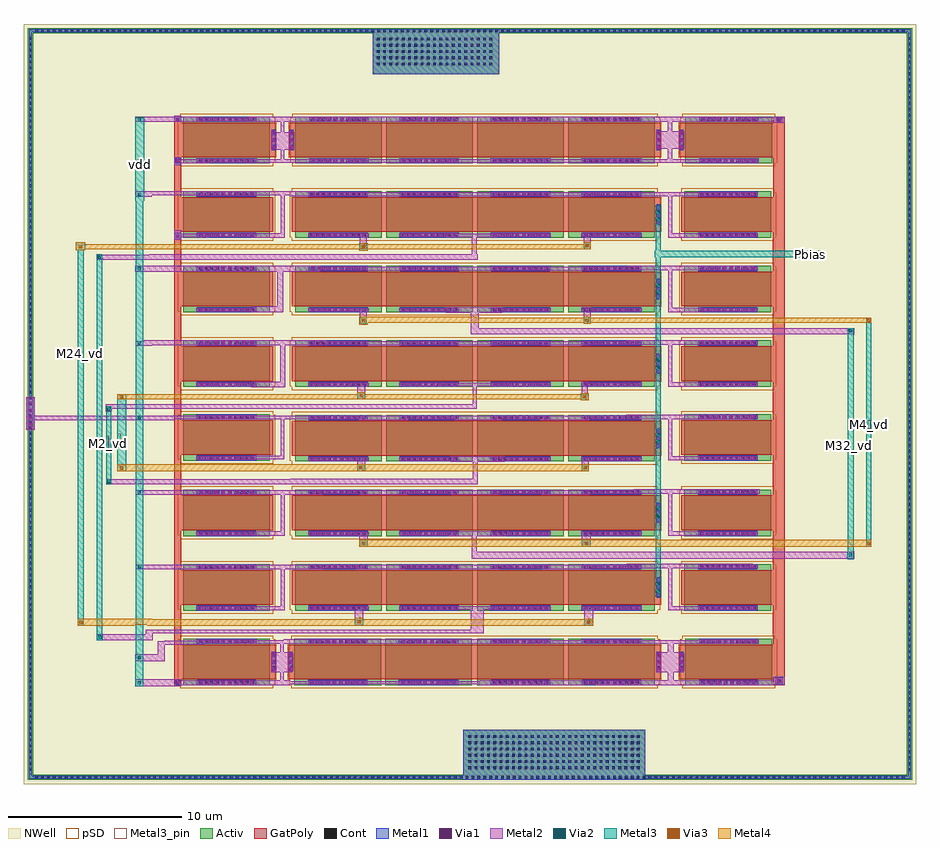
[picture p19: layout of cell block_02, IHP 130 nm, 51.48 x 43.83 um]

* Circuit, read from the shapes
.subckt block_02 M17_vd M24_vd M28_vd M2_vd M32_vd M4_vd Pbias vdd
XM1 vdd vdd vdd vdd sg13_lv_pmos w=5u l=2u m=24
XM2 vdd Pbias M24_vd vdd sg13_lv_pmos w=5u l=2u m=4
XM3 vdd Pbias M4_vd vdd sg13_lv_pmos w=5u l=2u m=4
XM4 vdd Pbias M17_vd vdd sg13_lv_pmos w=5u l=2u m=4
XM5 vdd Pbias M28_vd vdd sg13_lv_pmos w=5u l=2u m=4
XM6 vdd Pbias M32_vd vdd sg13_lv_pmos w=5u l=2u m=4
XM7 vdd Pbias M2_vd vdd sg13_lv_pmos w=5u l=2u m=4
.ends

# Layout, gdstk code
from math import pi, radians
import gdstk
lib = gdstk.Library(unit=1e-6, precision=1e-09)
def R(c, l, rs):  # rectangles x0, y0, x1, y1
    for r in rs: c.add(gdstk.rectangle(r[:2], r[2:], *l))
def A(c, l, x, y, w, h, nx, ny, dx, dy):  # array of equal rectangles
    R(c, l, [(x+i*dx, y+j*dy, x+i*dx+w, y+j*dy+h) for i in range(nx) for j in range(ny)])
Activ = (1, 0)
GatPoly = (5, 0)
Cont = (6, 0)
Metal1 = (8, 0)
Metal2 = (10, 0)
pSD = (14, 0)
Via1 = (19, 0)
Via2 = (29, 0)
Metal3 = (30, 0)
Metal3_pin = (30, 2)
NWell = (31, 0)
Via3 = (49, 0)
Metal4 = (50, 0)

sg13_lv_pmos_j2vszd = lib.new_cell('sg13_lv_pmos_J2VSZD')
R(sg13_lv_pmos_j2vszd, Activ, [(-1.34,-2.5,1.34,2.5)])
R(sg13_lv_pmos_j2vszd, GatPoly, [(-1,-2.68,1,2.68)])
A(sg13_lv_pmos_j2vszd, Cont, -1.27, -1.61, 0.16, 0.16, 1, 10, 0, 0.34)
A(sg13_lv_pmos_j2vszd, Cont, 1.11, -1.61, 0.16, 0.16, 1, 10, 0, 0.34)
R(sg13_lv_pmos_j2vszd, Metal1, [(-1.34,-1.705,-1.04,1.705), (1.04,-1.705,1.34,1.705)])
R(sg13_lv_pmos_j2vszd, Metal2, [(-1.29,-1.745,-1.09,1.745), (1.09,-1.745,1.29,1.745)])
R(sg13_lv_pmos_j2vszd, pSD, [(-1.3,-2.8,1.3,-2.68), (-1.52,-2.68,1.52,2.68), (-1.3,2.68,1.3,2.8)])
A(sg13_lv_pmos_j2vszd, Via1, -1.285, -1.53, 0.19, 0.19, 1, 8, 0, 0.41)
A(sg13_lv_pmos_j2vszd, Via1, 1.095, -1.53, 0.19, 0.19, 1, 8, 0, 0.41)
R(sg13_lv_pmos_j2vszd, NWell, [(-1.65,-2.81,1.65,2.81)])
sg13_lv_pmos_j2vszd.add(gdstk.Label('D', (-1.19,0), layer=8, texttype=25))
sg13_lv_pmos_j2vszd.add(gdstk.Label('S', (1.19,0), layer=8, texttype=25))

sg13_lv_pmos_j2vj4e = lib.new_cell('sg13_lv_pmos_J2VJ4E')
R(sg13_lv_pmos_j2vj4e, Activ, [(-1.34,-2.595,1.34,2.405)])
R(sg13_lv_pmos_j2vj4e, GatPoly, [(-1,-2.775,1,2.775)])
A(sg13_lv_pmos_j2vj4e, Cont, -1.27, -1.705, 0.16, 0.16, 1, 10, 0, 0.34)
A(sg13_lv_pmos_j2vj4e, Cont, 1.11, -1.705, 0.16, 0.16, 1, 10, 0, 0.34)
A(sg13_lv_pmos_j2vj4e, Cont, -0.42, 2.545, 0.16, 0.16, 3, 1, 0.34, 0)
R(sg13_lv_pmos_j2vj4e, Metal1, [(-1.34,-1.8,-1.04,1.61), (1.04,-1.8,1.34,1.61), (-0.585,2.52,0.585,2.73)])
R(sg13_lv_pmos_j2vj4e, Metal2, [(-1.29,-1.84,-1.09,1.65), (1.09,-1.84,1.29,1.65), (-0.535,2.48,0.535,2.77)])
R(sg13_lv_pmos_j2vj4e, pSD, [(-1.3,-2.895,1.3,-2.775), (-1.52,-2.775,1.52,2.585), (-1.3,2.585,1.3,2.705)])
A(sg13_lv_pmos_j2vj4e, Via1, -1.285, -1.625, 0.19, 0.19, 1, 8, 0, 0.41)
A(sg13_lv_pmos_j2vj4e, Via1, 1.095, -1.625, 0.19, 0.19, 1, 8, 0, 0.41)
A(sg13_lv_pmos_j2vj4e, Via1, -0.505, 2.53, 0.19, 0.19, 3, 1, 0.41, 0)
R(sg13_lv_pmos_j2vj4e, NWell, [(-1.65,-2.905,1.65,2.715)])
sg13_lv_pmos_j2vj4e.add(gdstk.Label('D', (-1.19,-0.095), layer=8, texttype=25))
sg13_lv_pmos_j2vj4e.add(gdstk.Label('S', (1.19,-0.095), layer=8, texttype=25))
sg13_lv_pmos_j2vj4e.add(gdstk.Label('G', (0,2.625), layer=8, texttype=25))

sg13_lv_pmos_j2dyzd = lib.new_cell('sg13_lv_pmos_J2DYZD')
R(sg13_lv_pmos_j2dyzd, Activ, [(-1.34,-2.405,1.34,2.595)])
R(sg13_lv_pmos_j2dyzd, GatPoly, [(-1,-2.775,1,2.775)])
A(sg13_lv_pmos_j2dyzd, Cont, -0.42, -2.705, 0.16, 0.16, 3, 1, 0.34, 0)
A(sg13_lv_pmos_j2dyzd, Cont, -1.27, -1.515, 0.16, 0.16, 1, 10, 0, 0.34)
A(sg13_lv_pmos_j2dyzd, Cont, 1.11, -1.515, 0.16, 0.16, 1, 10, 0, 0.34)
R(sg13_lv_pmos_j2dyzd, Metal1, [(-0.585,-2.73,0.585,-2.52), (-1.34,-1.61,-1.04,1.8), (1.04,-1.61,1.34,1.8)])
R(sg13_lv_pmos_j2dyzd, Metal2, [(-0.535,-2.77,0.535,-2.48), (-1.29,-1.65,-1.09,1.84), (1.09,-1.65,1.29,1.84)])
R(sg13_lv_pmos_j2dyzd, pSD, [(-1.3,-2.705,1.3,-2.585), (-1.52,-2.585,1.52,2.775), (-1.3,2.775,1.3,2.895)])
A(sg13_lv_pmos_j2dyzd, Via1, -0.505, -2.72, 0.19, 0.19, 3, 1, 0.41, 0)
A(sg13_lv_pmos_j2dyzd, Via1, -1.285, -1.435, 0.19, 0.19, 1, 8, 0, 0.41)
A(sg13_lv_pmos_j2dyzd, Via1, 1.095, -1.435, 0.19, 0.19, 1, 8, 0, 0.41)
R(sg13_lv_pmos_j2dyzd, NWell, [(-1.65,-2.715,1.65,2.905)])
sg13_lv_pmos_j2dyzd.add(gdstk.Label('D', (-1.19,0.095), layer=8, texttype=25))
sg13_lv_pmos_j2dyzd.add(gdstk.Label('S', (1.19,0.095), layer=8, texttype=25))
sg13_lv_pmos_j2dyzd.add(gdstk.Label('G', (0,-2.625), layer=8, texttype=25))

block_02 = lib.new_cell('block_02')
R(block_02, Activ, [(-27,32.3,24,32.6), (-27,32.6,-26.7,75.35), (-1.9,32.6,8.6,35.2), (23.7,32.6,24,75.35), (-7.1,73,0.2,75.35), (-27,75.35,24,75.65)])
R(block_02, GatPoly, [(-18.55,37.7,-18.15,70.6), (16,37.75,16.65,40.65), (15.95,40.65,16.65,65.9), (16,65.9,16.65,70.55)])
A(block_02, Cont, -26.57, 32.37, 0.16, 0.16, 148, 2, 0.34, 43.05)
A(block_02, Cont, -26.93, 32.815, 0.16, 0.16, 1, 125, 0, 0.34)
A(block_02, Cont, 23.77, 32.815, 0.16, 0.16, 1, 125, 0, 0.34)
A(block_02, Cont, -1.59, 32.92, 0.16, 0.16, 28, 6, 0.36, 0.36)
A(block_02, Cont, -6.87, 73.5, 0.16, 0.16, 19, 5, 0.36, 0.36)
R(block_02, Cont, [(-18.43,37.82,-18.27,37.98), (16.27,37.92,16.43,38.08), (-18.43,63.57,-18.27,63.73), (-18.43,67.92,-18.27,68.08), (16.245,70.27,16.405,70.43), (-18.43,70.32,-18.27,70.48)])
R(block_02, Metal1, [(-1.9,32.3,8.6,32.37), (-26.93,32.37,23.93,32.53), (-26.93,32.53,-26.77,52.5), (-1.9,32.53,8.6,35.2), (23.77,32.53,23.93,75.42), (-18.5,37.75,-18.2,38.05), (16.1,37.8,16.55,38.2), (-27.1,52.5,-26.6,54.35), (-26.93,54.35,-26.77,75.42), (-18.55,63.45,-18.15,63.85), (-18.5,67.85,-18.2,68.15), (16.15,70.2,16.5,70.5), (-18.55,70.25,-18.15,70.6), (-7.1,73,0.2,75.42), (-26.93,75.42,23.93,75.58), (-7.1,75.58,0.2,75.6)])
A(block_02, Metal2, -7.9, 48.75, 2.8, 0.25, 1, 3, 0, 4.3)
A(block_02, Metal2, -7.85, 61.65, 2.8, 0.25, 3, 1, 5.25, 0)
R(block_02, Metal2, [(-20.8,37.7,-18.15,37.75), (-20.8,37.75,-11.88,37.8), (-0.95,37.75,5.1,37.8), (5.75,37.75,16.65,38.05), (-20.8,37.8,-10.65,38), (-7.95,37.8,5.1,38), (-20.8,38,-11.88,38.05), (-0.95,38,5.1,38.05), (-20.8,38.05,-18.15,38.1), (-12.45,38.05,-12.25,38.5), (9.9,38.05,10.25,38.5), (16,38.05,16.65,38.25), (-12.95,38.5,-11.75,39.65), (9.25,38.5,10.75,39.65), (-20.8,39.15,-19.1,39.55), (-19.5,39.55,-19.1,40.095), (-12.45,39.65,-12.25,40.15), (9.9,39.65,10.25,40.15), (-19.5,40.095,-16.795,40.3), (-15.2,40.15,5.15,40.2), (6.2,40.15,14.95,40.35), (-15.2,40.2,5.1,40.35), (-19.1,40.3,-16.795,40.31), (-23.03,40.34,-19.86,40.35), (-23.03,40.35,-19.8,40.69), (-12.25,40.35,0.15,40.4), (-22.72,40.69,-19.8,40.7), (-20.2,40.7,-19.8,40.75), (-20.2,40.75,-0.7,40.95), (-1.45,40.95,-0.7,42.1), (-8.15,41.2,-7.65,42.3), (5.1,41.2,5.6,42.3), (-14.025,42.075,-12.175,42.325), (9.925,42.075,12.075,42.325), (-2.75,42.1,0.45,42.3), (-12.425,42.325,-12.175,44.45), (9.925,42.325,10.175,44.5), (9.25,42.95,9.45,43.85), (-20.78,44.44,-19.86,44.45), (-20.78,44.45,-10,44.69), (-8.05,44.45,-5.25,44.7), (-2.55,44.45,0.25,44.7), (2.7,44.45,5.5,44.7), (7.55,44.5,14.8,44.75), (-20.05,44.69,-10,44.7), (-1.4,45.05,20.65,45.45), (-1.4,45.45,-1.1,46.35), (-7.9,45.75,-7.4,46.6), (4.95,45.75,5.45,46.6), (-2.75,46.35,0.6,46.65), (-14.075,46.375,-12.175,46.625), (9.925,46.375,12.025,46.625), (-12.425,46.625,-12.175,48.75), (9.925,46.625,10.175,48.8), (9.25,47.3,9.45,48.15), (-20.78,48.74,-19.86,48.75), (-20.78,48.75,-10,48.99), (-2.55,48.75,0.25,49), (2.6,48.75,5.4,49), (7.95,48.8,15.2,49.05), (-20.05,48.99,-10,49), (-22.48,49.34,-11.6,49.35), (-22.48,49.35,-1.05,49.64), (-11.88,49.64,-1.05,49.65), (-1.35,49.65,-1.05,50.65), (-8,50.1,-7.55,50.9), (4.95,50.1,5.35,50.9), (-2.65,50.65,0.5,50.95), (9.925,50.725,11.825,50.975), (-14.05,50.8,-12.2,51), (9.925,50.975,10.175,53.1), (-12.4,51,-12.2,53.1), (9.25,51.6,9.45,52.4), (-27.1,52.5,-26.6,53.05), (-20.78,53.04,-20,53.05), (-27.1,53.05,-18.55,53.1), (-2.45,53.05,0.35,53.3), (2.55,53.05,5.35,53.3), (-27.1,53.1,-9.75,53.3), (7.55,53.1,14.8,53.35), (-27.1,53.3,-26.6,54.35), (-22.48,53.54,-22.23,53.55), (-22.5,53.55,-22.15,53.7), (-22.5,53.7,-1.1,53.95), (-1.35,53.95,-1.1,55), (4.9,54.2,5.35,54.6), (-8,54.25,-7.55,55.2), (4.95,54.6,5.3,55.25), (-14.1,54.95,-12.15,55.25), (9.925,54.975,11.925,55.225), (-2.45,55,-0.05,55.2), (9.925,55.225,10.175,57.4), (-12.45,55.25,-12.15,57.35), (9.25,55.85,9.45,56.75), (-20.78,57.34,-19.86,57.35), (-20.78,57.35,-9.8,57.59), (-2.55,57.35,0.25,57.6), (2.65,57.35,5.45,57.6), (7.6,57.4,14.85,57.65), (-20.4,57.59,-9.8,57.65), (-1.45,58,20.65,58.35), (-1.45,58.35,-1,59.25), (-7.85,58.6,-7.45,59.5), (5.05,58.6,5.45,59.55), (-2.9,59.25,0.35,59.55), (-14.125,59.275,-12.275,59.625), (9.925,59.275,11.825,59.525), (9.925,59.525,10.175,61.7), (-12.625,59.625,-12.275,61.6), (9.25,60.15,9.45,61.05), (-20.8,61.6,-10.15,61.65), (-20.8,61.65,-10,61.9), (7.6,61.7,14.85,61.95), (-20.8,61.9,-10.15,61.95), (-23.03,62.29,-19.86,62.3), (-23.03,62.3,-1.05,62.59), (-20.01,62.59,-1.05,62.6), (-1.4,62.6,-1.1,63.6), (-7.85,62.9,-7.45,63.8), (5.05,62.9,5.45,63.75), (-18.55,63.45,-18.15,63.6), (-14.025,63.575,-12.175,63.825), (9.925,63.575,11.925,63.825), (-18.55,63.6,-16.55,63.8), (-2.85,63.6,0.05,63.8), (-18.55,63.8,-18.15,64), (-12.425,63.825,-12.175,66), (9.925,63.825,10.175,65.95), (9.25,64.45,9.45,65.25), (-20.78,65.94,-19.86,66), (-11.88,65.95,-10,66), (-7.9,65.95,-5.1,66.2), (-2.5,65.95,0.3,66.2), (2.75,65.95,5.55,66.2), (7.6,65.95,14.85,66.2), (-20.78,66,-10,66.19), (-20.75,66.19,-10,66.2), (-20.75,66.2,-10.25,66.25), (-18.55,67.75,-18.15,67.85), (-18.55,67.85,-16.55,68.1), (-14.5,67.9,15.05,68.1), (-18.55,68.1,-18.15,68.2), (-12.4,68.1,-12.2,68.65), (9.9,68.1,10.15,68.7), (-12.9,68.65,-11.65,69.65), (9.3,68.7,10.75,69.7), (-12.4,69.65,-12.2,70.25), (9.9,69.7,10.15,70.25), (16,70.2,16.65,70.25), (-20.8,70.25,-16.95,70.55), (-14.3,70.25,16.65,70.5), (-14.3,70.5,15.05,70.55), (16,70.5,16.65,70.55), (-18.55,70.55,-18.15,70.6)])
A(block_02, Via1, -26.945, 52.69, 0.19, 0.19, 1, 4, 0, 0.41)
R(block_02, Via1, [(-18.445,37.805,-18.255,37.995), (16.255,37.905,16.445,38.095), (-18.445,63.555,-18.255,63.745), (-18.445,67.905,-18.255,68.095), (16.23,70.255,16.42,70.445), (-18.445,70.305,-18.255,70.495)])
A(block_02, Via2, -20.675, 44.495, 0.19, 0.19, 1, 5, 0, 4.3)
R(block_02, Via2, [(-20.67,37.805,-20.48,37.995), (-20.67,39.255,-20.48,39.445), (-22.925,40.445,-22.735,40.635), (5.255,41.305,5.445,41.495), (-7.995,41.33,-7.805,41.52), (9.255,43.1,9.445,43.29), (9.255,43.51,9.445,43.7), (20.355,45.18,20.545,45.37), (-7.745,45.855,-7.555,46.045), (5.105,45.855,5.295,46.045), (9.255,47.425,9.445,47.615), (9.255,47.835,9.445,48.025), (-22.425,49.395,-22.235,49.585), (-7.895,50.205,-7.705,50.395), (5.055,50.205,5.245,50.395), (9.255,51.7,9.445,51.89), (9.255,52.11,9.445,52.3), (-22.425,53.595,-22.235,53.785), (5.005,54.305,5.195,54.495), (-7.87,54.355,-7.68,54.545), (9.255,56,9.445,56.19), (9.255,56.41,9.445,56.6), (20.355,58.105,20.545,58.295), (-7.745,58.705,-7.555,58.895), (5.155,58.705,5.345,58.895), (9.255,60.3,9.445,60.49), (9.255,60.71,9.445,60.9), (-22.975,62.345,-22.785,62.535), (-7.745,62.955,-7.555,63.145), (5.155,63.005,5.345,63.195), (9.255,64.55,9.445,64.74), (9.255,64.96,9.445,65.15), (-20.675,65.945,-20.485,66.135), (-20.645,70.305,-20.455,70.495)])
R(block_02, Metal3, [(-20.8,37.7,-20.35,39.175), (-20.8,39.175,-20.33,39.35), (-20.78,39.35,-20.33,65.7), (-23.03,40.34,-22.68,40.38), (-23.04,40.38,-22.68,40.69), (-23.04,40.69,-22.72,62.6), (-24.13,41.19,-23.78,62.84), (-8.15,41.2,-7.65,41.65), (5.1,41.2,5.6,41.6), (9.2,42.85,9.5,62.45), (20.28,45.03,20.62,45.05), (20.27,45.05,20.635,45.4), (20.28,45.4,20.62,58.35), (-7.9,45.75,-7.4,46.15), (4.95,45.75,5.45,46.15), (21.35,45.75,21.65,58.95), (-22.48,49.34,-22.18,53.84), (-21.83,50.09,-21.33,54.54), (-8,50.1,-7.55,50.5), (4.95,50.1,5.35,50.5), (4.9,54.2,5.35,54.6), (-8,54.25,-7.55,54.65), (-7.85,58.6,-7.45,59), (5.05,58.6,5.45,59), (9.15,62.45,18.8,62.8), (-7.9,62.8,-7.4,63.25), (9.2,62.8,9.5,65.45), (-24.23,62.84,-23.68,63.29), (5.05,62.9,5.45,63.3), (-20.8,65.7,-20.3,70.5)])
R(block_02, Metal3_pin, [(-22.4,51.25,-22.3,52.15), (-21.83,51.75,-21.65,52.25), (21.45,52.55,21.6,53.05), (-24.05,56.6,-23.9,57.15), (-22.9,56.6,-22.85,57.15), (17.75,62.55,18.55,62.65), (-20.65,67.5,-20.4,68.1)])
R(block_02, NWell, [(-27.24,32.06,24.24,37.75), (-27.24,37.75,15.95,40.65), (16,37.75,24.24,40.65), (-27.24,40.65,24.24,65.9), (-27.24,65.9,15.95,66.45), (16,65.9,24.24,66.45), (-27.24,66.45,24.24,67.9), (-27.24,67.9,15.95,70.55), (16,67.9,24.24,70.55), (-27.24,70.55,24.24,75.89)])
R(block_02, Via3, [(-24.025,41.295,-23.835,41.485), (5.255,41.305,5.445,41.495), (-7.995,41.33,-7.805,41.52), (-7.745,45.855,-7.555,46.045), (5.105,45.855,5.295,46.045), (21.405,45.855,21.595,46.045), (-21.675,50.195,-21.485,50.385), (-7.895,50.205,-7.705,50.395), (5.055,50.205,5.245,50.395), (-21.675,54.295,-21.485,54.485), (5.005,54.305,5.195,54.495), (-7.87,54.355,-7.68,54.545), (-7.745,58.705,-7.555,58.895), (5.155,58.705,5.345,58.895), (21.405,58.705,21.595,58.895), (-24.05,62.945,-23.86,63.135), (-7.745,62.955,-7.555,63.145), (5.155,63.005,5.345,63.195)])
R(block_02, Metal4, [(-24.13,41.19,-20.83,41.24), (-20.125,41.2,5.6,41.24), (-24.13,41.24,5.6,41.55), (-24.13,41.55,-19.86,41.59), (-8.15,41.55,-7.65,41.65), (5.1,41.55,5.6,41.6), (-7.9,45.75,21.65,46.15), (-21.83,50.09,-11.75,50.1), (-21.83,50.1,5.35,50.49), (-11.88,50.49,5.35,50.5), (4.9,54.2,5.35,54.25), (-21.83,54.24,-19.86,54.25), (-21.83,54.25,5.35,54.54), (-20.15,54.54,5.35,54.55), (-8,54.55,-7.55,54.65), (4.9,54.55,5.35,54.6), (-7.9,58.55,-7.4,58.65), (5.05,58.6,5.45,58.65), (-7.9,58.65,21.65,58.95), (-7.9,58.95,-1.05,59), (5.05,58.95,5.45,59), (-7.9,62.8,-7.4,62.9), (-24.23,62.84,-23.68,62.89), (-24.23,62.89,-19.86,62.9), (-24.23,62.9,5.45,63.19), (-24.23,63.19,-23.68,63.29), (-20.01,63.19,5.45,63.2), (-7.9,63.2,-7.4,63.25), (5.05,63.2,5.45,63.3)])
block_02.add(gdstk.Reference(sg13_lv_pmos_j2vszd, (-15.54,43.4), rotation=3*pi/2))
block_02.add(gdstk.Reference(sg13_lv_pmos_j2vj4e, (-15.445,39.1), rotation=3*pi/2))
block_02.add(gdstk.Reference(sg13_lv_pmos_j2vszd, (-9.09,43.4), rotation=3*pi/2))
block_02.add(gdstk.Reference(sg13_lv_pmos_j2dyzd, (-9.225,39.1), rotation=3*pi/2))
block_02.add(gdstk.Reference(sg13_lv_pmos_j2vszd, (1.41,39.1), rotation=3*pi/2))
block_02.add(gdstk.Reference(sg13_lv_pmos_j2vszd, (-3.89,39.1), rotation=3*pi/2))
block_02.add(gdstk.Reference(sg13_lv_pmos_j2vszd, (-3.84,43.4), rotation=3*pi/2))
block_02.add(gdstk.Reference(sg13_lv_pmos_j2vszd, (1.41,43.4), rotation=3*pi/2))
block_02.add(gdstk.Reference(sg13_lv_pmos_j2vj4e, (6.755,39.1), rotation=3*pi/2))
block_02.add(gdstk.Reference(sg13_lv_pmos_j2vj4e, (6.755,43.4), rotation=3*pi/2))
block_02.add(gdstk.Reference(sg13_lv_pmos_j2vszd, (13.36,43.4), rotation=3*pi/2))
block_02.add(gdstk.Reference(sg13_lv_pmos_j2dyzd, (13.325,39.1), rotation=3*pi/2))
block_02.add(gdstk.Reference(sg13_lv_pmos_j2vszd, (-15.54,47.7), rotation=3*pi/2))
block_02.add(gdstk.Reference(sg13_lv_pmos_j2vszd, (-9.09,47.7), rotation=3*pi/2))
block_02.add(gdstk.Reference(sg13_lv_pmos_j2vszd, (-3.84,47.7), rotation=3*pi/2))
block_02.add(gdstk.Reference(sg13_lv_pmos_j2vszd, (1.41,47.7), rotation=3*pi/2))
block_02.add(gdstk.Reference(sg13_lv_pmos_j2vj4e, (6.755,47.7), rotation=3*pi/2))
block_02.add(gdstk.Reference(sg13_lv_pmos_j2vszd, (13.36,47.7), rotation=3*pi/2))
block_02.add(gdstk.Reference(sg13_lv_pmos_j2vszd, (-15.54,52.05), rotation=3*pi/2))
block_02.add(gdstk.Reference(sg13_lv_pmos_j2vszd, (-9.09,52), rotation=3*pi/2))
block_02.add(gdstk.Reference(sg13_lv_pmos_j2vszd, (-3.84,52), rotation=3*pi/2))
block_02.add(gdstk.Reference(sg13_lv_pmos_j2vszd, (1.41,52), rotation=3*pi/2))
block_02.add(gdstk.Reference(sg13_lv_pmos_j2vj4e, (6.755,52), rotation=3*pi/2))
block_02.add(gdstk.Reference(sg13_lv_pmos_j2vszd, (13.36,52.05), rotation=3*pi/2))
block_02.add(gdstk.Reference(sg13_lv_pmos_j2vszd, (-15.54,56.3), rotation=3*pi/2))
block_02.add(gdstk.Reference(sg13_lv_pmos_j2vszd, (-15.54,60.6), rotation=3*pi/2))
block_02.add(gdstk.Reference(sg13_lv_pmos_j2vszd, (-9.09,56.3), rotation=3*pi/2))
block_02.add(gdstk.Reference(sg13_lv_pmos_j2vszd, (-9.09,60.6), rotation=3*pi/2))
block_02.add(gdstk.Reference(sg13_lv_pmos_j2vszd, (-3.84,56.3), rotation=3*pi/2))
block_02.add(gdstk.Reference(sg13_lv_pmos_j2vszd, (1.41,56.3), rotation=3*pi/2))
block_02.add(gdstk.Reference(sg13_lv_pmos_j2vszd, (-3.84,60.6), rotation=3*pi/2))
block_02.add(gdstk.Reference(sg13_lv_pmos_j2vszd, (1.41,60.6), rotation=3*pi/2))
block_02.add(gdstk.Reference(sg13_lv_pmos_j2vj4e, (6.755,56.3), rotation=3*pi/2))
block_02.add(gdstk.Reference(sg13_lv_pmos_j2vj4e, (6.755,60.6), rotation=3*pi/2))
block_02.add(gdstk.Reference(sg13_lv_pmos_j2vszd, (13.36,60.6), rotation=3*pi/2))
block_02.add(gdstk.Reference(sg13_lv_pmos_j2vszd, (13.36,56.3), rotation=3*pi/2))
block_02.add(gdstk.Reference(sg13_lv_pmos_j2vszd, (-15.54,64.9), rotation=3*pi/2))
block_02.add(gdstk.Reference(sg13_lv_pmos_j2vszd, (-9.09,64.9), rotation=3*pi/2))
block_02.add(gdstk.Reference(sg13_lv_pmos_j2vszd, (-3.84,64.9), rotation=3*pi/2))
block_02.add(gdstk.Reference(sg13_lv_pmos_j2vszd, (1.41,64.9), rotation=3*pi/2))
block_02.add(gdstk.Reference(sg13_lv_pmos_j2vj4e, (6.755,64.9), rotation=3*pi/2))
block_02.add(gdstk.Reference(sg13_lv_pmos_j2vszd, (13.36,64.9), rotation=3*pi/2))
block_02.add(gdstk.Reference(sg13_lv_pmos_j2vj4e, (-15.445,69.2), rotation=3*pi/2))
block_02.add(gdstk.Reference(sg13_lv_pmos_j2dyzd, (-9.175,69.2), rotation=3*pi/2))
block_02.add(gdstk.Reference(sg13_lv_pmos_j2vszd, (1.41,69.2), rotation=3*pi/2))
block_02.add(gdstk.Reference(sg13_lv_pmos_j2vszd, (-3.84,69.2), rotation=3*pi/2))
block_02.add(gdstk.Reference(sg13_lv_pmos_j2vj4e, (6.755,69.2), rotation=3*pi/2))
block_02.add(gdstk.Reference(sg13_lv_pmos_j2dyzd, (13.325,69.2), rotation=3*pi/2))
block_02.add(gdstk.Label('M32_vd', (20.4,51.6), layer=30, texttype=25))
block_02.add(gdstk.Label('vdd', (-20.525,67.8), layer=30, texttype=25))
block_02.add(gdstk.Label('M24_vd', (-23.975,56.875), layer=30, texttype=25))
block_02.add(gdstk.Label('M28_vd', (-22.875,56.875), layer=30, texttype=25))
block_02.add(gdstk.Label('M4_vd', (21.525,52.8), layer=30, texttype=25))
block_02.add(gdstk.Label('M2_vd', (-22.35,51.7), layer=30, texttype=25))
block_02.add(gdstk.Label('M17_vd', (-21.74,52), layer=30, texttype=25))
block_02.add(gdstk.Label('Pbias', (18.15,62.6), layer=30, texttype=25))

lib.write_gds('block_02.gds')
